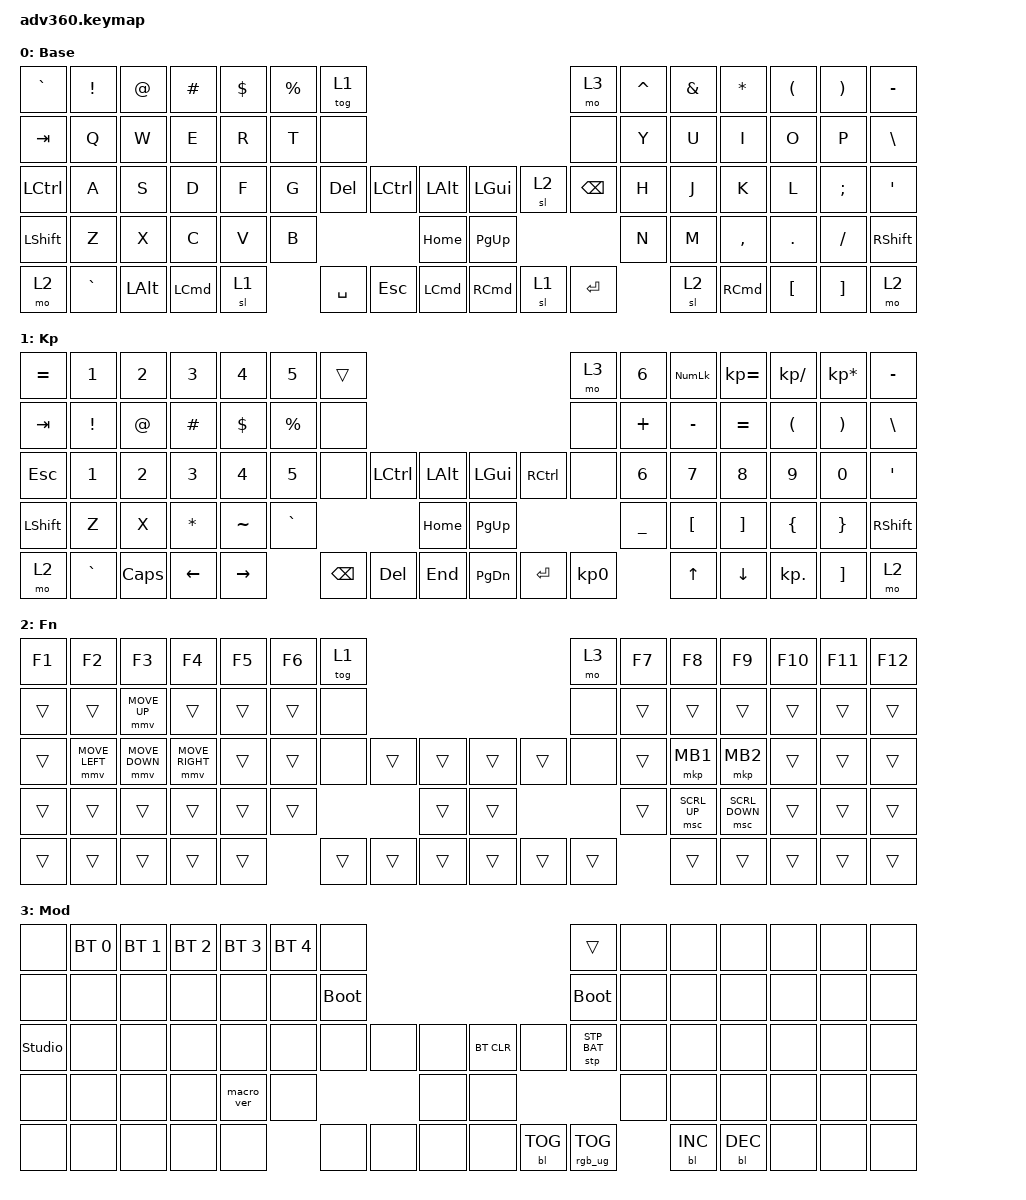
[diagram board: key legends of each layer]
#include <dt-bindings/zmk/stp.h>
#include <behaviors.dtsi>
#include <dt-bindings/zmk/backlight.h>
#include <dt-bindings/zmk/bt.h>
#include <dt-bindings/zmk/keys.h>
#include <dt-bindings/zmk/pointing.h>
#include <dt-bindings/zmk/pointing.h>
#include <dt-bindings/zmk/pointing.h>
#include <dt-bindings/zmk/rgb.h>

/ {
    behaviors {
        #include "macros.dtsi"
      #include "version.dtsi"

        hm: homerow_mods {
            compatible = "zmk,behavior-hold-tap";
            label = "HOMEROW_MODS";
            #binding-cells = <2>;
            tapping-term-ms = <200>;
            quick_tap_ms = <175>;
            flavor = "tap-preferred";
            bindings = <&kp>, <&kp>;
        };
    };

    keymap {
        compatible = "zmk,keymap";

        default_layer {
            display-name = "Base";
            bindings = <
&kp GRAVE  &kp EXCLAMATION  &kp AT_SIGN   &kp HASH          &kp DOLLAR  &kp PERCENT  &tog 1                                                                 &mo 3          &kp CARET  &kp AMPERSAND  &kp ASTERISK       &kp LEFT_PARENTHESIS  &kp RIGHT_PARENTHESIS  &kp MINUS
&kp TAB    &kp Q            &kp W         &kp E             &kp R       &kp T        &none                                                                  &none          &kp Y      &kp U          &kp I              &kp O                 &kp P                  &kp BSLH
&kp LCTRL  &kp A            &kp S         &kp D             &kp F       &kp G        &kp DELETE  &kp LCTRL  &kp LALT              &kp LGUI           &sl 2  &kp BACKSPACE  &kp H      &kp J          &kp K              &kp L                 &kp SEMI               &kp SQT
&kp LSHFT  &kp Z            &kp X         &kp C             &kp V       &kp B                               &kp HOME              &kp PG_UP                                &kp N      &kp M          &kp COMMA          &kp DOT               &kp FSLH               &kp RSHFT
&mo 2      &kp GRAVE        &kp LEFT_ALT  &kp LEFT_COMMAND  &sl 1                    &kp SPACE   &kp ESC    &kp LEFT_COMMAND      &kp RIGHT_COMMAND  &sl 1  &kp RETURN                &sl 2          &kp RIGHT_COMMAND  &kp LBKT              &kp RBKT               &mo 2
            >;
        };

        keypad {
            display-name = "Kp";
            bindings = <
&kp EQUAL  &kp N1           &kp N2        &kp N3        &kp N4        &kp N5        &trans                                                   &mo 3      &kp N6          &kp KP_NUM        &kp KP_EQUAL       &kp KP_DIVIDE         &kp KP_MULTIPLY        &kp MINUS
&kp TAB    &kp EXCLAMATION  &kp AT_SIGN   &kp HASH      &kp DOLLAR    &kp PERCENT   &none                                                    &none      &kp PLUS        &kp MINUS         &kp EQUAL          &kp LEFT_PARENTHESIS  &kp RIGHT_PARENTHESIS  &kp BSLH
&kp ESC    &kp NUMBER_1     &kp NUMBER_2  &kp NUMBER_3  &kp NUMBER_4  &kp NUMBER_5  &none     &kp LCTRL  &kp LALT      &kp LGUI   &kp RCTRL  &none      &kp NUMBER_6    &kp NUMBER_7      &kp NUMBER_8       &kp NUMBER_9          &kp NUMBER_0           &kp SQT
&kp LSHFT  &kp Z            &kp X         &kp ASTERISK  &kp TILDE     &kp GRAVE                          &kp HOME      &kp PG_UP                        &kp UNDERSCORE  &kp LEFT_BRACKET  &kp RIGHT_BRACKET  &kp LEFT_BRACE        &kp RIGHT_BRACE        &kp RSHFT
&mo 2      &kp GRAVE        &kp CAPS      &kp LEFT      &kp RIGHT                   &kp BSPC  &kp DEL    &kp END       &kp PG_DN  &kp ENTER  &kp KP_N0                  &kp UP            &kp DOWN           &kp KP_DOT            &kp RBKT               &mo 2
            >;
        };

        fn {
            display-name = "Fn";
            bindings = <
&kp F1  &kp F2          &kp F3          &kp F4           &kp F5  &kp F6  &tog 1                                      &mo 3   &kp F7  &kp F8        &kp F9          &kp F10  &kp F11  &kp F12
&trans  &trans          &mmv MOVE_UP    &trans           &trans  &trans  &none                                       &none   &trans  &trans        &trans          &trans   &trans   &trans
&trans  &mmv MOVE_LEFT  &mmv MOVE_DOWN  &mmv MOVE_RIGHT  &trans  &trans  &none   &trans  &trans      &trans  &trans  &none   &trans  &mkp MB1      &mkp MB2        &trans   &trans   &trans
&trans  &trans          &trans          &trans           &trans  &trans                  &trans      &trans                  &trans  &msc SCRL_UP  &msc SCRL_DOWN  &trans   &trans   &trans
&trans  &trans          &trans          &trans           &trans          &trans  &trans  &trans      &trans  &trans  &trans          &trans        &trans          &trans   &trans   &trans
            >;
        };

        mod {
            display-name = "Mod";
            bindings = <
&none           &bt BT_SEL 0  &bt BT_SEL 1  &bt BT_SEL 2  &bt BT_SEL 3  &bt BT_SEL 4  &none                                                  &trans           &none  &none       &none       &none  &none  &none
&none           &none         &none         &none         &none         &none         &bootloader                                            &bootloader      &none  &none       &none       &none  &none  &none
&studio_unlock  &none         &none         &none         &none         &none         &none        &none  &none      &bt BT_CLR  &none       &stp STP_BAT     &none  &none       &none       &none  &none  &none
&none           &none         &none         &none         &macro_ver    &none                             &none      &none                                    &none  &none       &none       &none  &none  &none
&none           &none         &none         &none         &none                       &none        &none  &none      &none       &bl BL_TOG  &rgb_ug RGB_TOG         &bl BL_INC  &bl BL_DEC  &none  &none  &none
            >;
        };

        extra1 {
            display-name = "Red";
            status = "reserved";
        };

        extra2 {
            display-name = "Purple";
            status = "reserved";
        };

        extra3 {
            display-name = "Cyan";
            status = "reserved";
        };

        extra4 {
            display-name = "Yellow";
            status = "reserved";
        };
    };
};
